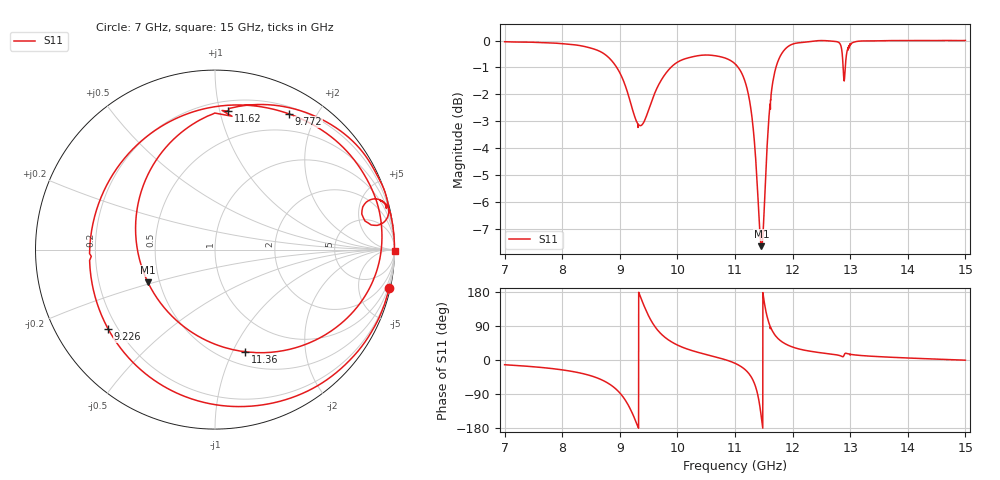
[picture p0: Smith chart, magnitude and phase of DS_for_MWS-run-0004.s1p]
! TOUCHSTONE file generated by CST DESIGN STUDIO
! Date and time: Mon Feb 10 16:54:01 2025
! Project name: C:\Work\MatlabApps\UnitCellType2OptimizationMatlab\CST\unitcell.cst
! Tree item: Tasks\Sweep1\SPara1\S-Parameters
! Header version: 2024
! Port assignment regex: !\s*Touchstone port\s*([0-9]+)\s*=\s*(CST MWS port|CST DES external port|CST DES block port)\s*(.+)\s* \(\"(.*)\"\)(\s*mode\s*([0-9]+))?.*
! Touchstone port assignment:
! Touchstone port 1 = CST DES external port 1 ("")
# GHz S MA R 50
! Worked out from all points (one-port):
!   4001 points, 7 GHz to 15 GHz, reference 50 ohm
!   lowest |S11| = -7.6 dB at 11.46 GHz (marker M1), VSWR 2.42, Z = 21.5 - j9.53 ohm
!   |S11| at or under -10 dB: nowhere
!   S11 on the Smith chart (normalised r, x): 7 GHz: 0.22, -9.15; 9.226 GHz: 0.16, -0.32; 9.772 GHz: 0.28, +1.65; 11.36 GHz: 0.64, -1.12; 11.62 GHz: 0.28, +1.06; 15 GHz: open
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7  0.9948 -12.5
8  0.9866 -26.0
8.628  0.9576 -48.5
8.83  0.9247 -64.5
9  0.8715 -86.8
9.12  0.8102 -111.9
9.226  0.7415 -143.5
9.358  0.6954 167.0
9.502  0.7448 115.8
9.614  0.8022 87.2
9.772  0.8615 61.3
10  0.9116 39.5
10.462  0.9398 15.9
11  0.9053 -8.7
11.22  0.8056 -32.1
11.364  0.5922 -73.6
11.412  0.4811 -104.7
11.46  0.4159 -153.9
11.524  0.5358 138.2
11.57  0.6726 107.3
11.62  0.7751 84.5
11.772  0.9292 53.1
12  0.9848 34.1
12.852  0.963 9.6
12.91  0.8766 17.2
13  0.9839 15.1
14  0.9996 5.3
15  1 -0.5
